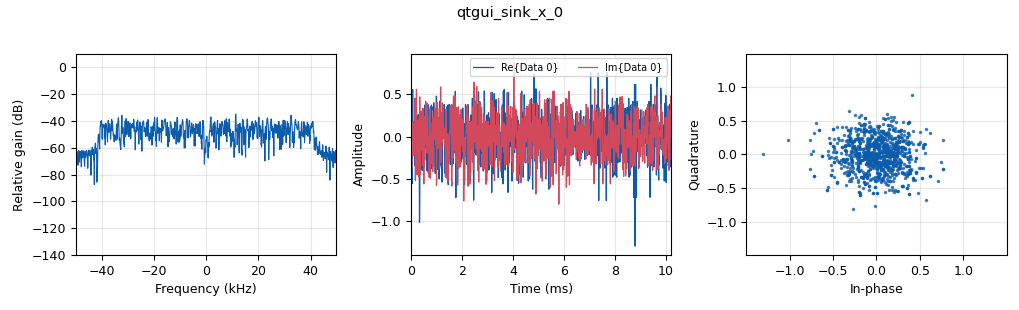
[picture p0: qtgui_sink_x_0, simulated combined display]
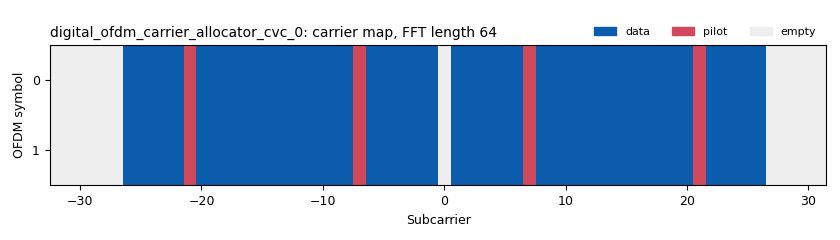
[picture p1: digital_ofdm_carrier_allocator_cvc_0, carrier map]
<?xml version='1.0' encoding='utf-8'?>
<?grc format='1' created='3.7.9'?>
<flow_graph>
<block>
<key>options</key>
<param><key>id</key><value>my_ofdm</value></param>
<param><key>category</key><value>Custom</value></param>
<param><key>generate_options</key><value>qt_gui</value></param>
</block>
<block>
<key>variable</key>
<param><key>id</key><value>center_freq</value></param>
<param><key>value</key><value>2450e6</value></param>
</block>
<block>
<key>variable</key>
<param><key>id</key><value>fft_len</value></param>
<param><key>value</key><value>64</value></param>
</block>
<block>
<key>variable</key>
<param><key>id</key><value>header_equalizer</value></param>
<param><key>value</key><value>digital.ofdm_equalizer_simpledfe(fft_len, header_mod.base(), occupied_carriers, pilot_carriers, pilot_symbols)</value></param>
</block>
<block>
<key>variable</key>
<param><key>id</key><value>header_formatter</value></param>
<param><key>value</key><value>digital.packet_header_ofdm(occupied_carriers, 1, length_tag_key)</value></param>
</block>
<block>
<key>variable</key>
<param><key>id</key><value>header_mod</value></param>
<param><key>value</key><value>digital.constellation_bpsk()</value></param>
</block>
<block>
<key>variable</key>
<param><key>id</key><value>length_tag_key</value></param>
<param><key>value</key><value>"packet_len"</value></param>
</block>
<block>
<key>variable</key>
<param><key>id</key><value>length_tag_key_0</value></param>
<param><key>value</key><value>"frame_len"</value></param>
</block>
<block>
<key>variable</key>
<param><key>id</key><value>occupied_carriers</value></param>
<param><key>value</key><value>(range(-26, -21) + range(-20, -7) + range(-6, 0) + range(1, 7) + range(8, 21) + range(22, 27),)</value></param>
</block>
<block>
<key>variable</key>
<param><key>id</key><value>packet_len</value></param>
<param><key>value</key><value>96</value></param>
</block>
<block>
<key>variable</key>
<param><key>id</key><value>packet_length_tag_key</value></param>
<param><key>value</key><value>"packet_len"</value></param>
</block>
<block>
<key>variable</key>
<param><key>id</key><value>payload_equalizer</value></param>
<param><key>value</key><value>digital.ofdm_equalizer_simpledfe(fft_len, payload_mod.base(), occupied_carriers, pilot_carriers, pilot_symbols, 1)</value></param>
</block>
<block>
<key>variable</key>
<param><key>id</key><value>payload_mod</value></param>
<param><key>value</key><value>digital.constellation_qpsk()</value></param>
</block>
<block>
<key>variable</key>
<param><key>id</key><value>pilot_carriers</value></param>
<param><key>value</key><value>((-21, -7, 7, 21,),)</value></param>
</block>
<block>
<key>variable</key>
<param><key>id</key><value>pilot_symbols</value></param>
<param><key>value</key><value>((1, 1, 1, -1,),)</value></param>
</block>
<block>
<key>variable</key>
<param><key>id</key><value>rolloff</value></param>
<param><key>value</key><value>0</value></param>
</block>
<block>
<key>variable</key>
<param><key>id</key><value>samp_rate</value></param>
<param><key>value</key><value>100000</value></param>
</block>
<block>
<key>variable</key>
<param><key>id</key><value>sync_word1</value></param>
<param><key>value</key><value>[0., 0., 0., 0., 0., 0., 0., 1.41421356, 0., -1.41421356, 0., 1.41421356, 0., -1.41421356, 0., -1.41421356, 0., -1.41421356, 0., 1.41421356, 0., -1.41421356, 0., 1.41421356, 0., -1.41421356, 0., -1.41421356, 0., -1.41421356, 0., -1.41421356, 0., 1.41421356, 0., -1.41421356, 0., 1.41421356, 0., 1.41421356, 0., 1.41421356, 0., -1.41421356, 0., 1.41421356, 0., 1.41421356, 0., 1.41421356, 0., -1.41421356, 0., 1.41421356, 0., 1.41421356, 0., 1.41421356, 0., 0., 0., 0., 0., 0.]</value></param>
</block>
<block>
<key>variable</key>
<param><key>id</key><value>sync_word2</value></param>
<param><key>value</key><value>[0, 0, 0, 0, 0, 0, -1, -1, -1, -1, 1, 1, -1, -1, -1, 1, -1, 1, 1, 1, 1, 1, -1, -1, -1, -1, -1, 1, -1, -1, 1, -1, 0, 1, -1, 1, 1, 1, -1, 1, 1, 1, -1, 1, 1, 1, 1, -1, 1, -1, -1, -1, 1, -1, 1, -1, -1, -1, -1, 0, 0, 0, 0, 0] </value></param>
</block>
<block>
<key>variable</key>
<param><key>id</key><value>trans_gain</value></param>
<param><key>value</key><value>10</value></param>
</block>
<block>
<key>analog_frequency_modulator_fc</key>
<param><key>id</key><value>analog_frequency_modulator_fc_0</value></param>
<param><key>sensitivity</key><value>-2.0/fft_len</value></param>
</block>
<block>
<key>analog_random_source_x</key>
<param><key>id</key><value>analog_random_source_x_0</value></param>
<param><key>max</key><value>255</value></param>
<param><key>min</key><value>0</value></param>
<param><key>num_samps</key><value>1000</value></param>
<param><key>type</key><value>byte</value></param>
<param><key>repeat</key><value>True</value></param>
</block>
<block>
<key>blocks_delay</key>
<param><key>id</key><value>blocks_delay_0</value></param>
<param><key>delay</key><value>fft_len+fft_len/4</value></param>
<param><key>type</key><value>complex</value></param>
</block>
<block>
<key>blocks_file_meta_sink</key>
<param><key>id</key><value>blocks_file_meta_sink_0</value></param>
<param><key>detached</key><value>False</value></param>
<param><key>extra_dict</key><value>""</value></param>
<param><key>file</key><value>C:/Users/Vinoj/Desktop/SDR/gnuradio/Readings/Corrected_Doppler/lateral_meta</value></param>
<param><key>type</key><value>complex</value></param>
<param><key>max_seg_size</key><value>1000000</value></param>
<param><key>rel_rate</key><value>1</value></param>
<param><key>samp_rate</key><value>samp_rate</value></param>
</block>
<block>
<key>blocks_file_sink</key>
<param><key>id</key><value>blocks_file_sink_0</value></param>
<param><key>file</key><value>C:/Users/Vinoj/Desktop/SDR/gnuradio/Readings/Corrected_Doppler/lateral_raw</value></param>
<param><key>type</key><value>complex</value></param>
</block>
<block>
<key>blocks_file_sink</key>
<param><key>id</key><value>blocks_file_sink_1</value></param>
<param><key>_enabled</key><value>0</value></param>
<param><key>file</key><value>C:/Users/Vinoj/Desktop/SDR/gnuradio/Readings/Initial/nothing_hf_rsi</value></param>
<param><key>type</key><value>complex</value></param>
</block>
<block>
<key>blocks_multiply_const_vxx</key>
<param><key>id</key><value>blocks_multiply_const_vxx_0</value></param>
<param><key>const</key><value>0.05</value></param>
<param><key>type</key><value>complex</value></param>
</block>
<block>
<key>blocks_multiply_xx</key>
<param><key>id</key><value>blocks_multiply_xx_0</value></param>
<param><key>type</key><value>complex</value></param>
</block>
<block>
<key>blocks_repack_bits_bb</key>
<param><key>id</key><value>blocks_repack_bits_bb_0</value></param>
<param><key>k</key><value>8</value></param>
<param><key>l</key><value>payload_mod.bits_per_symbol()</value></param>
<param><key>endianness</key><value>gr.GR_LSB_FIRST</value></param>
<param><key>len_tag_key</key><value>length_tag_key</value></param>
</block>
<block>
<key>blocks_repack_bits_bb</key>
<param><key>id</key><value>blocks_repack_bits_bb_0_0</value></param>
<param><key>k</key><value>payload_mod.bits_per_symbol()</value></param>
<param><key>l</key><value>8</value></param>
<param><key>endianness</key><value>gr.GR_LSB_FIRST</value></param>
<param><key>len_tag_key</key><value>packet_length_tag_key</value></param>
<param><key>align_output</key><value>True</value></param>
</block>
<block>
<key>blocks_stream_to_tagged_stream</key>
<param><key>id</key><value>blocks_stream_to_tagged_stream_0</value></param>
<param><key>len_tag_key</key><value>length_tag_key</value></param>
<param><key>packet_len</key><value>packet_len</value></param>
<param><key>type</key><value>byte</value></param>
</block>
<block>
<key>blocks_tag_debug</key>
<param><key>id</key><value>blocks_tag_debug_1</value></param>
<param><key>type</key><value>byte</value></param>
<param><key>name</key><value>Rx Bytes</value></param>
</block>
<block>
<key>blocks_tag_gate</key>
<param><key>id</key><value>blocks_tag_gate_0</value></param>
<param><key>type</key><value>complex</value></param>
<param><key>propagate_tags</key><value>False</value></param>
</block>
<block>
<key>blocks_tagged_stream_mux</key>
<param><key>id</key><value>blocks_tagged_stream_mux_0</value></param>
<param><key>type</key><value>complex</value></param>
<param><key>lengthtagname</key><value>length_tag_key</value></param>
<param><key>ninputs</key><value>2</value></param>
</block>
<block>
<key>blocks_vector_to_stream</key>
<param><key>id</key><value>blocks_vector_to_stream_0</value></param>
<param><key>type</key><value>complex</value></param>
<param><key>num_items</key><value>64</value></param>
</block>
<block>
<key>digital_chunks_to_symbols_xx</key>
<param><key>id</key><value>digital_chunks_to_symbols_xx_0</value></param>
<param><key>dimension</key><value>1</value></param>
<param><key>in_type</key><value>byte</value></param>
<param><key>out_type</key><value>complex</value></param>
<param><key>symbol_table</key><value>header_mod.points()</value></param>
</block>
<block>
<key>digital_chunks_to_symbols_xx</key>
<param><key>id</key><value>digital_chunks_to_symbols_xx_0_0</value></param>
<param><key>dimension</key><value>1</value></param>
<param><key>in_type</key><value>byte</value></param>
<param><key>out_type</key><value>complex</value></param>
<param><key>symbol_table</key><value>payload_mod.points()</value></param>
</block>
<block>
<key>digital_constellation_decoder_cb</key>
<param><key>id</key><value>digital_constellation_decoder_cb_0</value></param>
<param><key>constellation</key><value>header_mod.base()</value></param>
</block>
<block>
<key>digital_constellation_decoder_cb</key>
<param><key>id</key><value>digital_constellation_decoder_cb_1</value></param>
<param><key>constellation</key><value>payload_mod.base()</value></param>
</block>
<block>
<key>digital_crc32_bb</key>
<param><key>id</key><value>digital_crc32_bb_0</value></param>
<param><key>lengthtagname</key><value>length_tag_key</value></param>
<param><key>check</key><value>False</value></param>
<param><key>packed</key><value>True</value></param>
</block>
<block>
<key>digital_crc32_bb</key>
<param><key>id</key><value>digital_crc32_bb_0_0</value></param>
<param><key>lengthtagname</key><value>packet_length_tag_key</value></param>
<param><key>check</key><value>True</value></param>
<param><key>packed</key><value>True</value></param>
</block>
<block>
<key>digital_header_payload_demux</key>
<param><key>id</key><value>digital_header_payload_demux_0</value></param>
<param><key>guard_interval</key><value>fft_len/4</value></param>
<param><key>header_len</key><value>3</value></param>
<param><key>type</key><value>complex</value></param>
<param><key>items_per_symbol</key><value>fft_len</value></param>
<param><key>length_tag_key</key><value>length_tag_key_0</value></param>
<param><key>output_symbols</key><value>True</value></param>
<param><key>samp_rate</key><value>samp_rate</value></param>
<param><key>special_tags</key><value>()</value></param>
<param><key>timing_tag_key</key><value>"rx_time"</value></param>
</block>
<block>
<key>digital_ofdm_carrier_allocator_cvc</key>
<param><key>id</key><value>digital_ofdm_carrier_allocator_cvc_0</value></param>
<param><key>fft_len</key><value>fft_len</value></param>
<param><key>len_tag_key</key><value>length_tag_key</value></param>
<param><key>occupied_carriers</key><value>occupied_carriers</value></param>
<param><key>pilot_carriers</key><value>pilot_carriers</value></param>
<param><key>pilot_symbols</key><value>pilot_symbols</value></param>
<param><key>sync_words</key><value>(sync_word1, sync_word2)</value></param>
</block>
<block>
<key>digital_ofdm_chanest_vcvc</key>
<param><key>id</key><value>digital_ofdm_chanest_vcvc_0</value></param>
<param><key>force_one_symbol</key><value>False</value></param>
<param><key>max_carr_offset</key><value>3</value></param>
<param><key>n_data_symbols</key><value>1</value></param>
<param><key>sync_symbol1</key><value>sync_word1</value></param>
<param><key>sync_symbol2</key><value>sync_word2</value></param>
</block>
<block>
<key>digital_ofdm_cyclic_prefixer</key>
<param><key>id</key><value>digital_ofdm_cyclic_prefixer_0</value></param>
<param><key>cp_len</key><value>fft_len/4</value></param>
<param><key>input_size</key><value>fft_len</value></param>
<param><key>tagname</key><value>length_tag_key</value></param>
<param><key>rolloff</key><value>rolloff</value></param>
</block>
<block>
<key>digital_ofdm_frame_equalizer_vcvc</key>
<param><key>id</key><value>digital_ofdm_frame_equalizer_vcvc_0</value></param>
<param><key>cp_len</key><value>fft_len/4</value></param>
<param><key>equalizer</key><value>header_equalizer.base()</value></param>
<param><key>fft_len</key><value>fft_len</value></param>
<param><key>fixed_frame_len</key><value>1</value></param>
<param><key>len_tag_key</key><value>length_tag_key_0</value></param>
<param><key>propagate_channel_state</key><value>True</value></param>
</block>
<block>
<key>digital_ofdm_frame_equalizer_vcvc</key>
<param><key>id</key><value>digital_ofdm_frame_equalizer_vcvc_1</value></param>
<param><key>cp_len</key><value>fft_len/4</value></param>
<param><key>equalizer</key><value>payload_equalizer.base()</value></param>
<param><key>fft_len</key><value>fft_len</value></param>
<param><key>len_tag_key</key><value>length_tag_key_0</value></param>
<param><key>propagate_channel_state</key><value>True</value></param>
</block>
<block>
<key>digital_ofdm_serializer_vcc</key>
<param><key>id</key><value>digital_ofdm_serializer_vcc_header</value></param>
<param><key>carr_offset_key</key><value></value></param>
<param><key>fft_len</key><value>fft_len</value></param>
<param><key>len_tag_key</key><value>length_tag_key_0</value></param>
<param><key>occupied_carriers</key><value>occupied_carriers</value></param>
<param><key>packet_len_tag_key</key><value></value></param>
</block>
<block>
<key>digital_ofdm_serializer_vcc</key>
<param><key>id</key><value>digital_ofdm_serializer_vcc_payload</value></param>
<param><key>carr_offset_key</key><value></value></param>
<param><key>fft_len</key><value>fft_len</value></param>
<param><key>len_tag_key</key><value>length_tag_key_0</value></param>
<param><key>occupied_carriers</key><value>occupied_carriers</value></param>
<param><key>packet_len_tag_key</key><value>packet_length_tag_key</value></param>
<param><key>symbols_skipped</key><value>1</value></param>
</block>
<block>
<key>digital_ofdm_sync_sc_cfb</key>
<param><key>id</key><value>digital_ofdm_sync_sc_cfb_0</value></param>
<param><key>cp_len</key><value>fft_len/4</value></param>
<param><key>fft_len</key><value>fft_len</value></param>
</block>
<block>
<key>digital_packet_headergenerator_bb</key>
<param><key>id</key><value>digital_packet_headergenerator_bb_0</value></param>
<param><key>header_formatter</key><value>header_formatter.formatter()</value></param>
<param><key>len_tag_key</key><value>"packet_len"</value></param>
</block>
<block>
<key>digital_packet_headerparser_b</key>
<param><key>id</key><value>digital_packet_headerparser_b_0</value></param>
<param><key>header_formatter</key><value>header_formatter.base()</value></param>
</block>
<block>
<key>fft_vxx</key>
<param><key>id</key><value>fft_vxx_0</value></param>
<param><key>fft_size</key><value>fft_len</value></param>
<param><key>forward</key><value>False</value></param>
<param><key>type</key><value>complex</value></param>
<param><key>shift</key><value>True</value></param>
<param><key>window</key><value>()</value></param>
</block>
<block>
<key>fft_vxx</key>
<param><key>id</key><value>fft_vxx_0_0</value></param>
<param><key>fft_size</key><value>fft_len</value></param>
<param><key>forward</key><value>True</value></param>
<param><key>type</key><value>complex</value></param>
<param><key>shift</key><value>True</value></param>
<param><key>window</key><value>()</value></param>
</block>
<block>
<key>fft_vxx</key>
<param><key>id</key><value>fft_vxx_1</value></param>
<param><key>fft_size</key><value>fft_len</value></param>
<param><key>forward</key><value>True</value></param>
<param><key>type</key><value>complex</value></param>
<param><key>shift</key><value>True</value></param>
<param><key>window</key><value></value></param>
</block>
<block>
<key>virtual_sink</key>
<param><key>id</key><value>header_bits</value></param>
<param><key>stream_id</key><value>Header Bits</value></param>
</block>
<block>
<key>import</key>
<param><key>id</key><value>import_0</value></param>
<param><key>import</key><value>import numpy</value></param>
</block>
<block>
<key>import</key>
<param><key>id</key><value>import_0_0</value></param>
<param><key>import</key><value>import random</value></param>
</block>
<block>
<key>import</key>
<param><key>id</key><value>import_1</value></param>
<param><key>import</key><value>from gnuradio.digital.utils import tagged_streams</value></param>
</block>
<block>
<key>qtgui_sink_x</key>
<param><key>id</key><value>qtgui_sink_x_0</value></param>
<param><key>bw</key><value>samp_rate</value></param>
<param><key>fc</key><value>0</value></param>
<param><key>freqchangevar</key><value>None</value></param>
<param><key>fftsize</key><value>1024</value></param>
<param><key>showports</key><value>True</value></param>
<param><key>type</key><value>complex</value></param>
<param><key>wintype</key><value>firdes.WIN_BLACKMAN_hARRIS</value></param>
</block>
<block>
<key>qtgui_sink_x</key>
<param><key>id</key><value>qtgui_sink_x_1</value></param>
<param><key>bw</key><value>samp_rate</value></param>
<param><key>fc</key><value>0</value></param>
<param><key>freqchangevar</key><value>None</value></param>
<param><key>fftsize</key><value>1024</value></param>
<param><key>showports</key><value>True</value></param>
<param><key>type</key><value>complex</value></param>
<param><key>wintype</key><value>firdes.WIN_BLACKMAN_hARRIS</value></param>
</block>
<block>
<key>uhd_usrp_sink</key>
<param><key>id</key><value>uhd_usrp_sink_0</value></param>
<param><key>ant0</key><value>TX/RX</value></param>
<param><key>center_freq0</key><value>center_freq</value></param>
<param><key>norm_gain0</key><value>False</value></param>
<param><key>gain0</key><value>trans_gain</value></param>
<param><key>clock_rate</key><value>0.0</value></param>
<param><key>dev_addr</key><value>addr=192.168.10.2</value></param>
<param><key>dev_args</key><value>""</value></param>
<param><key>type</key><value>fc32</value></param>
<param><key>samp_rate</key><value>samp_rate</value></param>
<param><key>hide_cmd_port</key><value>False</value></param>
<param><key>sync</key><value></value></param>
<param><key>len_tag_name</key><value></value></param>
</block>
<block>
<key>uhd_usrp_source</key>
<param><key>id</key><value>uhd_usrp_source_0</value></param>
<param><key>ant0</key><value>RX2</value></param>
<param><key>center_freq0</key><value>center_freq</value></param>
<param><key>dc_offs_enb0</key><value>""</value></param>
<param><key>iq_imbal_enb0</key><value>""</value></param>
<param><key>norm_gain0</key><value>False</value></param>
<param><key>gain0</key><value>trans_gain</value></param>
<param><key>clock_rate</key><value>0.0</value></param>
<param><key>dev_addr</key><value>addr=192.168.10.3</value></param>
<param><key>dev_args</key><value>""</value></param>
<param><key>type</key><value>fc32</value></param>
<param><key>samp_rate</key><value>samp_rate</value></param>
<param><key>hide_cmd_port</key><value>False</value></param>
<param><key>sync</key><value></value></param>
</block>
<block>
<key>virtual_sink</key>
<param><key>id</key><value>virtual_sink_0</value></param>
<param><key>stream_id</key><value>Time Domain</value></param>
</block>
<block>
<key>virtual_sink</key>
<param><key>id</key><value>virtual_sink_0_0</value></param>
<param><key>stream_id</key><value>Payload Bits</value></param>
</block>
<block>
<key>virtual_sink</key>
<param><key>id</key><value>virtual_sink_0_0_0</value></param>
<param><key>stream_id</key><value>Pre-OFDM</value></param>
</block>
<block>
<key>virtual_sink</key>
<param><key>id</key><value>virtual_sink_0_1</value></param>
<param><key>stream_id</key><value>Header Stream</value></param>
</block>
<block>
<key>virtual_sink</key>
<param><key>id</key><value>virtual_sink_1_0</value></param>
<param><key>stream_id</key><value>Payload Stream</value></param>
</block>
<block>
<key>virtual_sink</key>
<param><key>id</key><value>virtual_sink_1_0_0</value></param>
<param><key>stream_id</key><value>Payload IQ</value></param>
</block>
<block>
<key>virtual_source</key>
<param><key>id</key><value>virtual_source_0</value></param>
<param><key>stream_id</key><value>Header Bits</value></param>
</block>
<block>
<key>virtual_source</key>
<param><key>id</key><value>virtual_source_0_0</value></param>
<param><key>stream_id</key><value>Payload Bits</value></param>
</block>
<block>
<key>virtual_source</key>
<param><key>id</key><value>virtual_source_0_0_0</value></param>
<param><key>stream_id</key><value>Pre-OFDM</value></param>
</block>
<block>
<key>virtual_source</key>
<param><key>id</key><value>virtual_source_0_0_0_0</value></param>
<param><key>stream_id</key><value>Time Domain</value></param>
</block>
<block>
<key>virtual_source</key>
<param><key>id</key><value>virtual_source_0_0_1</value></param>
<param><key>stream_id</key><value>Payload IQ</value></param>
</block>
<block>
<key>virtual_source</key>
<param><key>id</key><value>virtual_source_0_1</value></param>
<param><key>stream_id</key><value>Header Stream</value></param>
</block>
<block>
<key>virtual_source</key>
<param><key>id</key><value>virtual_source_1</value></param>
<param><key>stream_id</key><value>Payload Stream</value></param>
</block>
<connection><source_block_id>analog_frequency_modulator_fc_0</source_block_id><sink_block_id>blocks_multiply_xx_0</sink_block_id><source_key>0</source_key><sink_key>0</sink_key></connection>
<connection><source_block_id>analog_random_source_x_0</source_block_id><sink_block_id>blocks_stream_to_tagged_stream_0</sink_block_id><source_key>0</source_key><sink_key>0</sink_key></connection>
<connection><source_block_id>blocks_delay_0</source_block_id><sink_block_id>blocks_multiply_xx_0</sink_block_id><source_key>0</source_key><sink_key>1</sink_key></connection>
<connection><source_block_id>blocks_multiply_const_vxx_0</source_block_id><sink_block_id>blocks_tag_gate_0</sink_block_id><source_key>0</source_key><sink_key>0</sink_key></connection>
<connection><source_block_id>blocks_multiply_xx_0</source_block_id><sink_block_id>digital_header_payload_demux_0</sink_block_id><source_key>0</source_key><sink_key>0</sink_key></connection>
<connection><source_block_id>blocks_repack_bits_bb_0</source_block_id><sink_block_id>virtual_sink_0_0</sink_block_id><source_key>0</source_key><sink_key>0</sink_key></connection>
<connection><source_block_id>blocks_repack_bits_bb_0_0</source_block_id><sink_block_id>digital_crc32_bb_0_0</sink_block_id><source_key>0</source_key><sink_key>0</sink_key></connection>
<connection><source_block_id>blocks_stream_to_tagged_stream_0</source_block_id><sink_block_id>digital_crc32_bb_0</sink_block_id><source_key>0</source_key><sink_key>0</sink_key></connection>
<connection><source_block_id>blocks_tag_gate_0</source_block_id><sink_block_id>qtgui_sink_x_0</sink_block_id><source_key>0</source_key><sink_key>0</sink_key></connection>
<connection><source_block_id>blocks_tag_gate_0</source_block_id><sink_block_id>uhd_usrp_sink_0</sink_block_id><source_key>0</source_key><sink_key>0</sink_key></connection>
<connection><source_block_id>blocks_tagged_stream_mux_0</source_block_id><sink_block_id>virtual_sink_0_0_0</sink_block_id><source_key>0</source_key><sink_key>0</sink_key></connection>
<connection><source_block_id>blocks_vector_to_stream_0</source_block_id><sink_block_id>blocks_file_meta_sink_0</sink_block_id><source_key>0</source_key><sink_key>0</sink_key></connection>
<connection><source_block_id>blocks_vector_to_stream_0</source_block_id><sink_block_id>blocks_file_sink_0</sink_block_id><source_key>0</source_key><sink_key>0</sink_key></connection>
<connection><source_block_id>digital_chunks_to_symbols_xx_0</source_block_id><sink_block_id>blocks_tagged_stream_mux_0</sink_block_id><source_key>0</source_key><sink_key>0</sink_key></connection>
<connection><source_block_id>digital_chunks_to_symbols_xx_0_0</source_block_id><sink_block_id>blocks_tagged_stream_mux_0</sink_block_id><source_key>0</source_key><sink_key>1</sink_key></connection>
<connection><source_block_id>digital_constellation_decoder_cb_0</source_block_id><sink_block_id>digital_packet_headerparser_b_0</sink_block_id><source_key>0</source_key><sink_key>0</sink_key></connection>
<connection><source_block_id>digital_constellation_decoder_cb_1</source_block_id><sink_block_id>blocks_repack_bits_bb_0_0</sink_block_id><source_key>0</source_key><sink_key>0</sink_key></connection>
<connection><source_block_id>digital_crc32_bb_0</source_block_id><sink_block_id>blocks_repack_bits_bb_0</sink_block_id><source_key>0</source_key><sink_key>0</sink_key></connection>
<connection><source_block_id>digital_crc32_bb_0</source_block_id><sink_block_id>digital_packet_headergenerator_bb_0</sink_block_id><source_key>0</source_key><sink_key>0</sink_key></connection>
<connection><source_block_id>digital_crc32_bb_0_0</source_block_id><sink_block_id>blocks_tag_debug_1</sink_block_id><source_key>0</source_key><sink_key>0</sink_key></connection>
<connection><source_block_id>digital_header_payload_demux_0</source_block_id><sink_block_id>virtual_sink_0_1</sink_block_id><source_key>0</source_key><sink_key>0</sink_key></connection>
<connection><source_block_id>digital_header_payload_demux_0</source_block_id><sink_block_id>virtual_sink_1_0</sink_block_id><source_key>1</source_key><sink_key>0</sink_key></connection>
<connection><source_block_id>digital_ofdm_carrier_allocator_cvc_0</source_block_id><sink_block_id>fft_vxx_0</sink_block_id><source_key>0</source_key><sink_key>0</sink_key></connection>
<connection><source_block_id>digital_ofdm_chanest_vcvc_0</source_block_id><sink_block_id>blocks_vector_to_stream_0</sink_block_id><source_key>0</source_key><sink_key>0</sink_key></connection>
<connection><source_block_id>digital_ofdm_chanest_vcvc_0</source_block_id><sink_block_id>digital_ofdm_frame_equalizer_vcvc_0</sink_block_id><source_key>0</source_key><sink_key>0</sink_key></connection>
<connection><source_block_id>digital_ofdm_cyclic_prefixer_0</source_block_id><sink_block_id>virtual_sink_0</sink_block_id><source_key>0</source_key><sink_key>0</sink_key></connection>
<connection><source_block_id>digital_ofdm_frame_equalizer_vcvc_0</source_block_id><sink_block_id>digital_ofdm_serializer_vcc_header</sink_block_id><source_key>0</source_key><sink_key>0</sink_key></connection>
<connection><source_block_id>digital_ofdm_frame_equalizer_vcvc_1</source_block_id><sink_block_id>digital_ofdm_serializer_vcc_payload</sink_block_id><source_key>0</source_key><sink_key>0</sink_key></connection>
<connection><source_block_id>digital_ofdm_serializer_vcc_header</source_block_id><sink_block_id>digital_constellation_decoder_cb_0</sink_block_id><source_key>0</source_key><sink_key>0</sink_key></connection>
<connection><source_block_id>digital_ofdm_serializer_vcc_payload</source_block_id><sink_block_id>virtual_sink_1_0_0</sink_block_id><source_key>0</source_key><sink_key>0</sink_key></connection>
<connection><source_block_id>digital_ofdm_sync_sc_cfb_0</source_block_id><sink_block_id>digital_header_payload_demux_0</sink_block_id><source_key>1</source_key><sink_key>1</sink_key></connection>
<connection><source_block_id>digital_ofdm_sync_sc_cfb_0</source_block_id><sink_block_id>analog_frequency_modulator_fc_0</sink_block_id><source_key>0</source_key><sink_key>0</sink_key></connection>
<connection><source_block_id>digital_packet_headergenerator_bb_0</source_block_id><sink_block_id>header_bits</sink_block_id><source_key>0</source_key><sink_key>0</sink_key></connection>
<connection><source_block_id>digital_packet_headerparser_b_0</source_block_id><sink_block_id>digital_header_payload_demux_0</sink_block_id><source_key>header_data</source_key><sink_key>header_data</sink_key></connection>
<connection><source_block_id>fft_vxx_0</source_block_id><sink_block_id>digital_ofdm_cyclic_prefixer_0</sink_block_id><source_key>0</source_key><sink_key>0</sink_key></connection>
<connection><source_block_id>fft_vxx_0_0</source_block_id><sink_block_id>digital_ofdm_chanest_vcvc_0</sink_block_id><source_key>0</source_key><sink_key>0</sink_key></connection>
<connection><source_block_id>fft_vxx_1</source_block_id><sink_block_id>digital_ofdm_frame_equalizer_vcvc_1</sink_block_id><source_key>0</source_key><sink_key>0</sink_key></connection>
<connection><source_block_id>uhd_usrp_source_0</source_block_id><sink_block_id>blocks_delay_0</sink_block_id><source_key>0</source_key><sink_key>0</sink_key></connection>
<connection><source_block_id>uhd_usrp_source_0</source_block_id><sink_block_id>blocks_file_sink_1</sink_block_id><source_key>0</source_key><sink_key>0</sink_key></connection>
<connection><source_block_id>uhd_usrp_source_0</source_block_id><sink_block_id>digital_ofdm_sync_sc_cfb_0</sink_block_id><source_key>0</source_key><sink_key>0</sink_key></connection>
<connection><source_block_id>uhd_usrp_source_0</source_block_id><sink_block_id>qtgui_sink_x_1</sink_block_id><source_key>0</source_key><sink_key>0</sink_key></connection>
<connection><source_block_id>virtual_source_0</source_block_id><sink_block_id>digital_chunks_to_symbols_xx_0</sink_block_id><source_key>0</source_key><sink_key>0</sink_key></connection>
<connection><source_block_id>virtual_source_0_0</source_block_id><sink_block_id>digital_chunks_to_symbols_xx_0_0</sink_block_id><source_key>0</source_key><sink_key>0</sink_key></connection>
<connection><source_block_id>virtual_source_0_0_0</source_block_id><sink_block_id>digital_ofdm_carrier_allocator_cvc_0</sink_block_id><source_key>0</source_key><sink_key>0</sink_key></connection>
<connection><source_block_id>virtual_source_0_0_0_0</source_block_id><sink_block_id>blocks_multiply_const_vxx_0</sink_block_id><source_key>0</source_key><sink_key>0</sink_key></connection>
<connection><source_block_id>virtual_source_0_0_1</source_block_id><sink_block_id>digital_constellation_decoder_cb_1</sink_block_id><source_key>0</source_key><sink_key>0</sink_key></connection>
<connection><source_block_id>virtual_source_0_1</source_block_id><sink_block_id>fft_vxx_0_0</sink_block_id><source_key>0</source_key><sink_key>0</sink_key></connection>
<connection><source_block_id>virtual_source_1</source_block_id><sink_block_id>fft_vxx_1</sink_block_id><source_key>0</source_key><sink_key>0</sink_key></connection>
</flow_graph>
